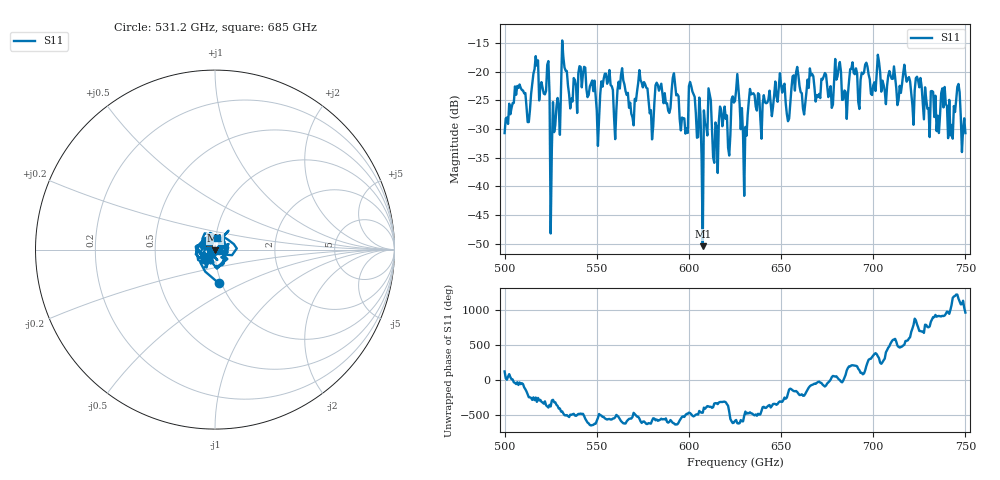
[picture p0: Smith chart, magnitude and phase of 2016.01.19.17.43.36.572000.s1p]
!Created with skrf (http://scikit-rf.org).
# GHz S RI R 50.0
!freq ReS11 ImS11
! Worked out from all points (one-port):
!   401 points, 500 GHz to 750 GHz, reference 50 ohm
!   lowest |S11| = -50.5 dB at 607.5 GHz (marker M1), VSWR 1.01, Z = 49.9 - j0.292 ohm
!   |S11| at or under -10 dB: start of sweep to end of sweep
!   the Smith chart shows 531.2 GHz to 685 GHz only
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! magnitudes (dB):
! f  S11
! 500 GHz  -30.7
! 506.9 GHz  -22.5
! 513.1 GHz  -28.8
! 516.9 GHz  -17.3
! 523.1 GHz  -18.8
! 526.2 GHz  -25.3
! 531.2 GHz  -14.5
! 550.6 GHz  -33.0
! 562.5 GHz  -22.9
! 568.8 GHz  -27.4
! 573.8 GHz  -21.5
! 579.4 GHz  -26.7
! 583.1 GHz  -22.3
! 593.8 GHz  -24.0
! 598.1 GHz  -30.8
! 601.9 GHz  -23.4
! 607.5 GHz  -50.5
! 610.6 GHz  -22.9
! 614.4 GHz  -28.9
! 625 GHz  -25.1
! 630.6 GHz  -29.6
! 633.8 GHz  -24.0
! 656.2 GHz  -20.8
! 687.5 GHz  -19.6
! 718.8 GHz  -21.3
! 741.9 GHz  -31.1
! 746.2 GHz  -22.1
! 750 GHz  -30.7
